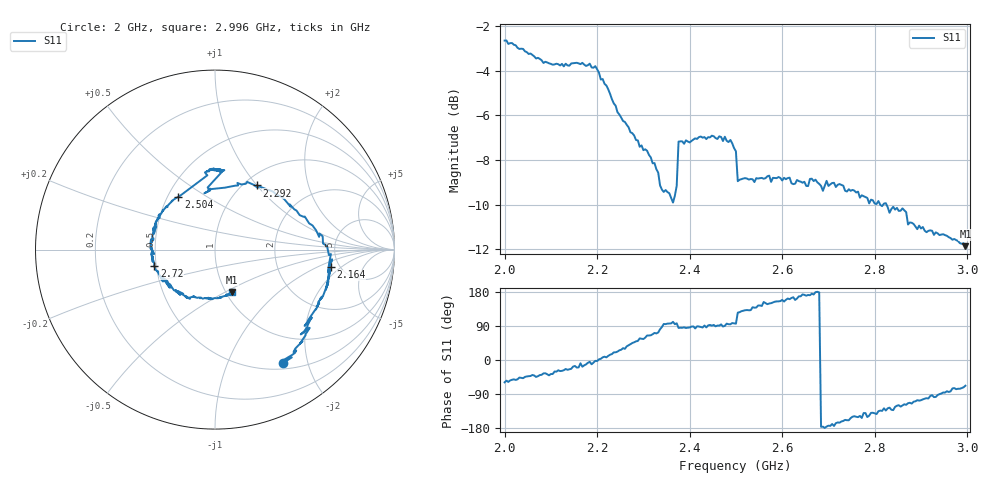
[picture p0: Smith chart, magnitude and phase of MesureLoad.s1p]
# MHz S MA R 50.0
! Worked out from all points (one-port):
!   250 points, 2 GHz to 2.996 GHz, reference 50 ohm
!   lowest |S11| = -11.9 dB at 2.996 GHz (marker M1), VSWR 1.69, Z = 53.5 - j27.1 ohm
!   |S11| at or under -10 dB: 2.811753 GHz to 2.818369 GHz (6.616 MHz wide, 0.235 % of centre); 2.825 GHz to end of sweep
!   S11 on the Smith chart (normalised r, x): 2 GHz: 0.58, -1.61; 2.164 GHz: 4.23, -1.45; 2.292 GHz: 1.14, +1.00; 2.504 GHz: 0.57, +0.38; 2.72 GHz: 0.49, -0.10; 2.996 GHz: 1.07, -0.54
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2000  0.737 -58.9
2032  0.7058 -46.3
2068  0.672 -44.7
2084  0.6566 -35.3
2096  0.6555 -40.4
2128  0.6451 -26.9
2152  0.6562 -15.8
2160  0.6552 -19.5
2164  0.6527 -8.7
2168  0.657 -17.7
2184  0.6542 -4.7
2188  0.6419 -11.2
2196  0.646 -2.2
2252  0.4954 27.0
2292  0.4262 57.0
2332  0.3729 72.6
2344  0.3376 95.0
2364  0.3196 100.7
2372  0.3485 96.8
2376  0.4377 84.6
2500  0.4162 95.8
2504  0.3569 124.9
2560  0.3614 153.0
2624  0.3515 165.6
2720  0.3503 -164.8
2748  0.3395 -153.3
2872  0.2854 -114.1
2996  0.2552 -67.9
